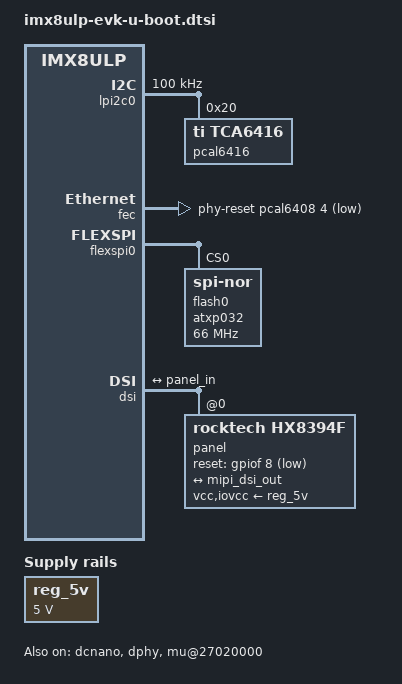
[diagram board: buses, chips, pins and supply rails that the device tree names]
// SPDX-License-Identifier: (GPL-2.0 OR MIT)
/*
 * Copyright 2021 NXP
 */

#include "imx8ulp-u-boot.dtsi"

/ {
	chosen {
		bootargs = "console=ttyLP1,115200 earlycon";
	};

	mu@27020000 {
		compatible = "fsl,imx8ulp-mu";
		reg = <0 0x27020000 0 0x10000>;
		status = "okay";
		bootph-all;
	};

	aliases {
		spi0 = &flexspi0;
		spi2 = &flexspi2;
		i2c0 = &lpi2c0;
		i2c7 = &lpi2c7;
		usbphy0 = &usbphy1;
		usb0 = &usbotg1;
		usbphy1 = &usbphy2;
		usb1 = &usbotg2;
		usb_gadget0 = &usbg1;
		usb_gadget1 = &usbg2;
	};

	usbg1: usbg1 {
		compatible = "fsl,imx27-usb-gadget";
		dr_mode = "peripheral";
		chipidea,usb = <&usbotg1>;
		status = "okay";
	};

	usbg2: usbg2 {
		compatible = "fsl,imx27-usb-gadget";
		dr_mode = "peripheral";
		chipidea,usb = <&usbotg2>;
		status = "okay";
	};

	dsi_host: dsi-host {
		compatible = "northwest,mipi-dsi";
		status = "okay";
	};

	reg_5v: regulator-5v {
		compatible = "regulator-fixed";
		regulator-name = "5V";
		regulator-min-microvolt = <5000000>;
		regulator-max-microvolt = <5000000>;
		regulator-always-on;
	};
};

&soc {
	bootph-all;
};

&{/firmware} {
	bootph-some-ram;
};

&{/firmware/scmi} {
	bootph-some-ram;
};

&{/firmware/scmi/protocol@15} {
	bootph-some-ram;
};

&per_bridge3 {
	bootph-all;
};

&mu {
	status = "disabled";
};

&wdog3 {
	status = "disabled";
};

&per_bridge4 {
	bootph-all;
	bootph-pre-ram;
};

&iomuxc1 {
	bootph-all;

	pinctrl_dsi: dsigrp {
		fsl,pins = <
			MX8ULP_PAD_PTF8__PTF8		0x3
		>;
	};
};

&pinctrl_lpuart5 {
	bootph-all;
};

&lpuart5 {
	bootph-all;
};

&usdhc0 {
	bootph-pre-ram;
	mmc-hs400-1_8v;
	mmc-hs400-enhanced-strobe;
};

&pinctrl_usdhc0 {
	bootph-pre-ram;
};

&crypto {
	bootph-pre-ram;
};

&sec_jr0 {
	bootph-pre-ram;
	status = "disabled";
};

&sec_jr1 {
	bootph-pre-ram;
};

&sec_jr2 {
	bootph-pre-ram;
};

&sec_jr3 {
	bootph-pre-ram;
};

&lpi2c0 {
	#address-cells = <1>;
	#size-cells = <0>;
	clock-frequency = <100000>;
	status = "okay";

	pcal6416: gpio@20 {
		compatible = "ti,tca6416";
		reg = <0x20>;
		gpio-controller;
		#gpio-cells = <2>;
	};
};

&usbotg1 {
	compatible = "fsl,imx8ulp-usb", "fsl,imx7ulp-usb", "fsl,imx27-usb";
};

&usbotg2 {
	compatible = "fsl,imx8ulp-usb", "fsl,imx7ulp-usb", "fsl,imx27-usb";
};

&pcal6408 {
	compatible = "nxp,pcal9554b", "ti,tca6408";
};

&fec {
	phy-reset-gpios = <&pcal6408 4 GPIO_ACTIVE_LOW>;
};

&scmi_buf {
	reg = <0x0 0x1000>; /* Align page size */
};

&flexspi0 {
	status = "okay";

	flash0: atxp032@0 {
		reg = <0>;
		#address-cells = <1>;
		#size-cells = <1>;
		compatible = "jedec,spi-nor";
		spi-max-frequency = <66000000>;
	};
};

&dsi {
	data-lanes-num = <4>;
	status = "okay";

	panel@0 {
		compatible = "rocktech,hx8394f";
		reg = <0>;
		pinctrl-names = "default";
		pinctrl-0 = <&pinctrl_dsi>;
		himax,dsi-lanes = <2>;
		reset-gpios = <&gpiof 8 GPIO_ACTIVE_LOW>;
		vcc-supply = <&reg_5v>;
		iovcc-supply = <&reg_5v>;

		port {
			panel_in: endpoint {
				remote-endpoint = <&mipi_dsi_out>;
			};
		};
	};

	ports {
		port@1 {
			reg = <1>;

			mipi_dsi_out: endpoint {
				remote-endpoint = <&panel_in>;
			};
		};
	};
};

&dcnano {
	status = "okay";
};

&dphy {
	status = "okay";
};
